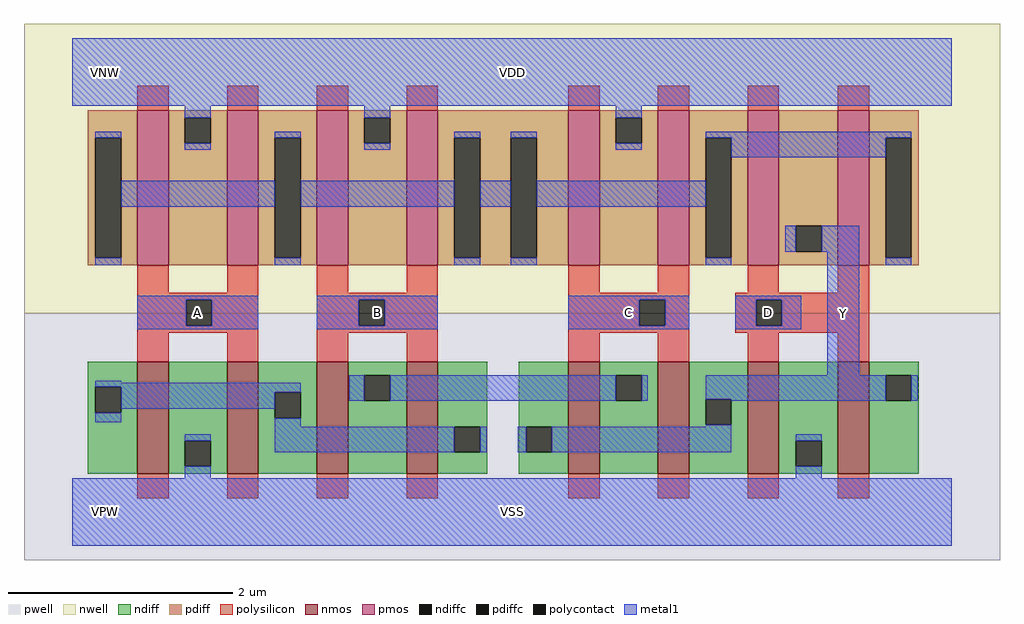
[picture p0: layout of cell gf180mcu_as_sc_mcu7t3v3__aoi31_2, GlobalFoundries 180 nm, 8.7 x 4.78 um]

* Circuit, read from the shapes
.subckt gf180mcu_as_sc_mcu7t3v3__aoi31_2 VDD VNW VPW VSS A B C Y D
XM1 VSS A n1 VPW nfet_03v3 w=1u l=0.28u m=2
XM2 n2 B n1 VPW nfet_03v3 w=1u l=0.28u m=2
XM3 n2 C Y VPW nfet_03v3 w=1u l=0.28u m=2
XM4 VSS D Y VPW nfet_03v3 w=1u l=0.28u m=2
XM5 VDD A n3 VNW pfet_03v3 w=1.38u l=0.28u m=2
XM6 VDD B n3 VNW pfet_03v3 w=1.38u l=0.28u m=2
XM7 VDD C n3 VNW pfet_03v3 w=1.38u l=0.28u m=2
XM8 Y D n3 VNW pfet_03v3 w=1.38u l=0.28u m=2
.ends

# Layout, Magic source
magic
tech gf180mcuD
magscale 1 10
<< nwell >>
rect -86 354 1654 870
<< pwell >>
rect -86 -86 1654 354
<< nmos >>
rect 116 68 172 268
rect 276 68 332 268
rect 436 68 492 268
rect 596 68 652 268
rect 884 68 940 268
rect 1044 68 1100 268
rect 1204 68 1260 268
rect 1365 68 1421 268
<< pmos >>
rect 116 440 172 716
rect 276 440 332 716
rect 436 440 492 716
rect 596 440 652 716
rect 884 440 940 716
rect 1044 440 1100 716
rect 1204 440 1260 716
rect 1365 440 1421 716
<< ndiff >>
rect 28 223 116 268
rect 28 177 41 223
rect 87 177 116 223
rect 28 68 116 177
rect 172 127 276 268
rect 172 81 201 127
rect 247 81 276 127
rect 172 68 276 81
rect 332 213 436 268
rect 332 167 361 213
rect 407 167 436 213
rect 332 68 436 167
rect 492 244 596 268
rect 492 198 521 244
rect 567 198 596 244
rect 492 68 596 198
rect 652 152 740 268
rect 652 106 681 152
rect 727 106 740 152
rect 652 68 740 106
rect 796 152 884 268
rect 796 106 809 152
rect 855 106 884 152
rect 796 68 884 106
rect 940 244 1044 268
rect 940 198 969 244
rect 1015 198 1044 244
rect 940 68 1044 198
rect 1100 201 1204 268
rect 1100 155 1129 201
rect 1175 155 1204 201
rect 1100 68 1204 155
rect 1260 127 1365 268
rect 1260 81 1290 127
rect 1336 81 1365 127
rect 1260 68 1365 81
rect 1421 244 1509 268
rect 1421 198 1450 244
rect 1496 198 1509 244
rect 1421 68 1509 198
<< pdiff >>
rect 28 667 116 716
rect 28 453 41 667
rect 87 453 116 667
rect 28 440 116 453
rect 172 703 276 716
rect 172 657 201 703
rect 247 657 276 703
rect 172 440 276 657
rect 332 667 436 716
rect 332 453 361 667
rect 407 453 436 667
rect 332 440 436 453
rect 492 703 596 716
rect 492 657 521 703
rect 567 657 596 703
rect 492 440 596 657
rect 652 667 884 716
rect 652 453 681 667
rect 727 453 782 667
rect 828 453 884 667
rect 652 440 884 453
rect 940 703 1044 716
rect 940 657 969 703
rect 1015 657 1044 703
rect 940 440 1044 657
rect 1100 667 1204 716
rect 1100 453 1129 667
rect 1175 453 1204 667
rect 1100 440 1204 453
rect 1260 510 1365 716
rect 1260 464 1290 510
rect 1336 464 1365 510
rect 1260 440 1365 464
rect 1421 667 1509 716
rect 1421 453 1450 667
rect 1496 453 1509 667
rect 1421 440 1509 453
<< ndiffc >>
rect 41 177 87 223
rect 201 81 247 127
rect 361 167 407 213
rect 521 198 567 244
rect 681 106 727 152
rect 809 106 855 152
rect 969 198 1015 244
rect 1129 155 1175 201
rect 1290 81 1336 127
rect 1450 198 1496 244
<< pdiffc >>
rect 41 453 87 667
rect 201 657 247 703
rect 361 453 407 667
rect 521 657 567 703
rect 681 453 727 667
rect 782 453 828 667
rect 969 657 1015 703
rect 1129 453 1175 667
rect 1290 464 1336 510
rect 1450 453 1496 667
<< polysilicon >>
rect 116 716 172 760
rect 276 716 332 760
rect 436 716 492 760
rect 596 716 652 760
rect 884 716 940 760
rect 1044 716 1100 760
rect 1204 716 1260 760
rect 1365 716 1421 760
rect 116 391 172 440
rect 276 391 332 440
rect 116 378 332 391
rect 116 332 203 378
rect 249 332 332 378
rect 116 319 332 332
rect 116 268 172 319
rect 276 268 332 319
rect 436 391 492 440
rect 596 391 652 440
rect 436 378 652 391
rect 436 332 511 378
rect 557 332 652 378
rect 436 319 652 332
rect 436 268 492 319
rect 596 268 652 319
rect 884 391 940 440
rect 1044 391 1100 440
rect 1204 391 1260 440
rect 1365 391 1421 440
rect 884 378 1100 391
rect 884 332 1011 378
rect 1057 332 1100 378
rect 884 319 1100 332
rect 1182 378 1421 391
rect 1182 332 1219 378
rect 1265 332 1421 378
rect 1182 319 1421 332
rect 884 268 940 319
rect 1044 268 1100 319
rect 1204 268 1260 319
rect 1365 268 1421 319
rect 116 24 172 68
rect 276 24 332 68
rect 436 24 492 68
rect 596 24 652 68
rect 884 24 940 68
rect 1044 24 1100 68
rect 1204 24 1260 68
rect 1365 24 1421 68
<< polycontact >>
rect 203 332 249 378
rect 511 332 557 378
rect 1011 332 1057 378
rect 1219 332 1265 378
<< metal1 >>
rect 0 724 1568 844
rect 201 703 247 724
rect 41 667 87 678
rect 521 703 567 724
rect 201 646 247 657
rect 361 667 407 678
rect 87 544 361 590
rect 41 440 87 453
rect 969 703 1015 724
rect 521 646 567 657
rect 681 667 727 678
rect 407 544 681 590
rect 361 440 407 453
rect 782 667 828 678
rect 727 544 782 590
rect 681 440 727 453
rect 969 646 1015 657
rect 1129 667 1496 678
rect 828 544 1129 590
rect 782 440 828 453
rect 1175 632 1450 667
rect 1271 464 1290 510
rect 1336 464 1403 510
rect 1129 440 1175 453
rect 116 378 332 385
rect 116 332 203 378
rect 249 332 332 378
rect 116 326 332 332
rect 436 378 652 385
rect 436 332 511 378
rect 557 332 652 378
rect 436 326 652 332
rect 884 378 1100 385
rect 884 332 1011 378
rect 1057 332 1100 378
rect 884 326 1100 332
rect 1182 378 1300 385
rect 1182 332 1219 378
rect 1265 332 1300 378
rect 1182 326 1300 332
rect 1346 244 1403 464
rect 1450 440 1496 453
rect 41 230 87 234
rect 41 223 407 230
rect 87 213 407 223
rect 87 184 361 213
rect 41 160 87 177
rect 494 198 521 244
rect 567 198 969 244
rect 1015 198 1026 244
rect 1129 201 1450 244
rect 361 152 407 167
rect 1175 198 1450 201
rect 1496 198 1507 244
rect 1129 152 1175 155
rect 201 127 247 138
rect 361 106 681 152
rect 727 106 739 152
rect 794 106 809 152
rect 855 106 1175 152
rect 1290 127 1336 138
rect 201 60 247 81
rect 1290 60 1336 81
rect 0 -60 1568 60
<< labels >>
flabel metal1 s 0 724 1568 844 0 FreeSans 400 0 0 0 VDD
port 1 nsew power bidirectional abutment
flabel metal1 s 0 -60 1568 60 0 FreeSans 400 0 0 0 VSS
port 4 nsew ground bidirectional abutment
flabel nwell s 10 734 110 834 0 FreeSans 400 0 0 0 VNW
port 2 nsew power bidirectional
flabel pwell s 10 -50 110 50 0 FreeSans 400 0 0 0 VPW
port 3 nsew ground bidirectional
flabel metal1 116 326 332 385 0 FreeSans 200 0 0 0 A
port 5 nsew signal input
flabel metal1 436 326 652 385 0 FreeSans 200 0 0 0 B
port 6 nsew signal input
flabel metal1 884 326 1100 385 0 FreeSans 200 0 0 0 C
port 7 nsew signal input
flabel metal1 1346 198 1403 510 0 FreeSans 200 0 0 0 Y
port 8 nsew signal output
flabel metal1 1182 326 1300 385 0 FreeSans 200 0 0 0 D
port 9 nsew signal input
<< properties >>
string FIXED_BBOX 0 0 1568 784
string LEFclass CORE
string LEFsite unithd
string LEFsymmetry X Y
string MASKHINTS_NPLUS -16 -46 1584 354
string MASKHINTS_PPLUS -16 354 1584 830
<< end >>
